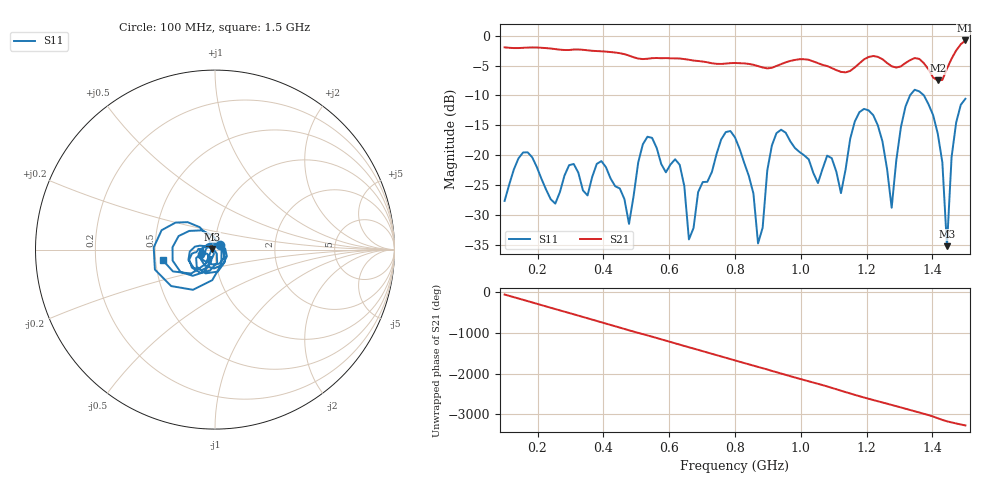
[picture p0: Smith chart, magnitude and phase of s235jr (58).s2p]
! NanoVNA-App
! Date: 2025-09-26 09:45:14
! Start: 100MHz Stop: 1,5GHz Points: 101
! S-Parameter data: F S11 S21 S12 S22
# Hz S RI R 50
!  Frequency  S11_Real  S11_Imag  S21_Real  S21_Imag  S12_Real  S12_Imag  S22_Real  S22_Imag
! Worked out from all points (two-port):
!   101 points, 100 MHz to 1.5 GHz, reference 50 ohm
!   highest |S21| = -0.80 dB at 1.5 GHz (marker M1); lowest = -7.5 dB at 1.416 GHz (marker M2)
!   |S21| within 3 dB of the highest: start of sweep to 504 MHz; 543.2 MHz to 616.3 MHz (73.15 MHz wide, 12.6 % of centre) (the widest 2 of 5)
!   lowest |S11| = -35.2 dB at 1.444 GHz (marker M3), VSWR 1.04, Z = 48.3 + j0.384 ohm
!   |S11| at or under -10 dB: start of sweep to 1.332 GHz; 1.374 GHz to end of sweep
!   S12 and S22 are empty: the file has one direction only
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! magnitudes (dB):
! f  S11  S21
! 100 MHz  -27.6  -2.0
! 156 MHz  -19.5  -2.0
! 254 MHz  -28.1  -2.2
! 338 MHz  -25.9  -2.4
! 394 MHz  -21.0  -2.6
! 478 MHz  -31.5  -3.3
! 520 MHz  -18.2  -3.9
! 576 MHz  -21.5  -3.8
! 632 MHz  -21.6  -3.8
! 660 MHz  -34.1  -4.0
! 800 MHz  -17.0  -4.6
! 870 MHz  -34.8  -5.1
! 926 MHz  -16.3  -5.1
! 1.038 GHz  -23.0  -4.3
! 1.122 GHz  -26.4  -6.1
! 1.206 GHz  -12.5  -3.6
! 1.276 GHz  -28.8  -5.1
! 1.332 GHz  -10.0  -4.1
! 1.416 GHz  -16.4  -7.5
! 1.444 GHz  -35.2  -5.5
! 1.458 GHz  -20.3  -3.9
! 1.5 GHz  -10.6  -0.8
